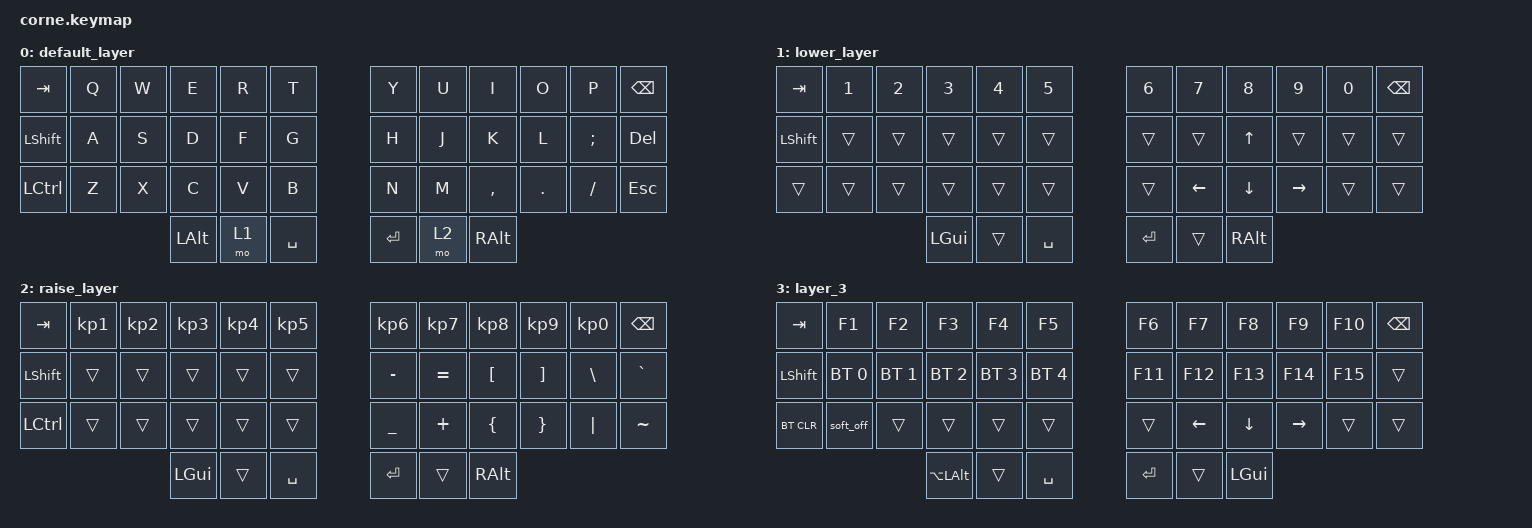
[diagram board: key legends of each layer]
/*
 * Copyright (c) 2020 The ZMK Contributors
 *
 * SPDX-License-Identifier: MIT
 */

#include <behaviors.dtsi>
#include <dt-bindings/zmk/bt.h>
#include <dt-bindings/zmk/keys.h>

&led_strip { chain-length = <27>; };

/ {
    combos {
        compatible = "zmk,combos";

        Layer_3 {
            bindings = <&mo 3>;
            key-positions = <37 40>;
        };

        pwr_off_L {
            bindings = <&soft_off>;
            key-positions = <0 5 38>;
        };

        pwr_off_R {
            bindings = <&soft_off>;
            key-positions = <39 6 11>;
        };
    };

    keymap {
        compatible = "zmk,keymap";

        default_layer {
            // -----------------------------------------------------------------------------------------
            // |  TAB |  Q  |  W  |  E  |  R  |  T  |   |  Y  |  U   |  I  |  O  |  P  | BKSP |
            // | SHFT |  A  |  S  |  D  |  F  |  G  |   |  H  |  J   |  K  |  L  |  ;  |  '   |
            // | CTRL |  Z  |  X  |  C  |  V  |  B  |   |  N  |  M   |  ,  |  .  |  /  | ESC  |
            //                    | ALT | LWR | SPC |   | ENT | RSE  | GUI |

            bindings = <
&kp TAB    &kp Q  &kp W  &kp E     &kp R  &kp T        &kp Y    &kp U  &kp I          &kp O       &kp P          &kp BACKSPACE
&kp LSHFT  &kp A  &kp S  &kp D     &kp F  &kp G        &kp H    &kp J  &kp K          &kp L       &kp SEMICOLON  &kp DELETE
&kp LCTRL  &kp Z  &kp X  &kp C     &kp V  &kp B        &kp N    &kp M  &kp COMMA      &kp PERIOD  &kp SLASH      &kp ESCAPE
                         &kp LALT  &mo 1  &kp SPACE    &kp RET  &mo 2  &kp RIGHT_ALT
            >;
        };

        lower_layer {
            // -----------------------------------------------------------------------------------------
            // |  TAB |  1  |  2  |  3  |  4  |  5  |   |  6  |  7  |  8  |  9  |  0  | BKSP |
            // | SHFT | BT1 | BT2 | BT3 | BT4 | BT5 |   |     |  UP |     |     |     |      |
            // | BTCLR|     |     |     |     |     |   | LFT | DWN | RGT |     |     |      |
            //                    | GUI |     | SPC |   | ENT |     | ALT |

            bindings = <
&kp TAB    &kp NUMBER_1  &kp NUMBER_2  &kp NUMBER_3  &kp NUMBER_4  &kp NUMBER_5    &kp NUMBER_6  &kp NUMBER_7  &kp NUMBER_8   &kp NUMBER_9  &kp NUMBER_0  &kp BSPC
&kp LSHFT  &trans        &trans        &trans        &trans        &trans          &trans        &trans        &kp UP_ARROW   &trans        &trans        &trans
&trans     &trans        &trans        &trans        &trans        &trans          &trans        &kp LEFT      &kp DOWN       &kp RIGHT     &trans        &trans
                                       &kp LGUI      &trans        &kp SPACE       &kp RET       &trans        &kp RIGHT_ALT
            >;
        };

        raise_layer {
            // -----------------------------------------------------------------------------------------
            // |  TAB |  !  |  @  |  #  |  $  |  %  |   |  ^  |  &  |  *  |  (  |  )  | BKSP |
            // | SHFT |     |     |     |     |     |   |  -  |  =  |  [  |  ]  |  \  |  `   |
            // | CTRL |     |     |     |     |     |   |  _  |  +  |  {  |  }  | "|" |  ~   |
            //                    | GUI |     | SPC |   | ENT |     | ALT |

            bindings = <
&kp TAB    &kp KP_NUMBER_1  &kp KP_NUMBER_2  &kp KP_NUMBER_3  &kp KP_NUMBER_4  &kp KP_NUMBER_5    &kp KP_NUMBER_6  &kp KP_NUMBER_7  &kp KP_NUMBER_8  &kp KP_NUMBER_9  &kp KP_NUMBER_0  &kp BSPC
&kp LSHFT  &trans           &trans           &trans           &trans           &trans             &kp MINUS        &kp EQUAL        &kp LBKT         &kp RBKT         &kp BSLH         &kp GRAVE
&kp LCTRL  &trans           &trans           &trans           &trans           &trans             &kp UNDER        &kp PLUS         &kp LBRC         &kp RBRC         &kp PIPE         &kp TILDE
                                             &kp LGUI         &trans           &kp SPACE          &kp RET          &trans           &kp RALT
            >;
        };

        layer_3 {
            bindings = <
&kp TAB     &kp F1        &kp F2        &kp F3            &kp F4        &kp F5          &kp F6   &kp F7    &kp F8        &kp F9     &kp F10  &kp BSPC
&kp LSHFT   &bt BT_SEL 0  &bt BT_SEL 1  &bt BT_SEL 2      &bt BT_SEL 3  &bt BT_SEL 4    &kp F11  &kp F12   &kp F13       &kp F14    &kp F15  &trans
&bt BT_CLR  &soft_off     &trans        &trans            &trans        &trans          &trans   &kp LEFT  &kp DOWN      &kp RIGHT  &trans   &trans
                                        &kp LA(LEFT_ALT)  &trans        &kp SPACE       &kp RET  &trans    &kp LEFT_GUI
            >;
        };
    };
};
